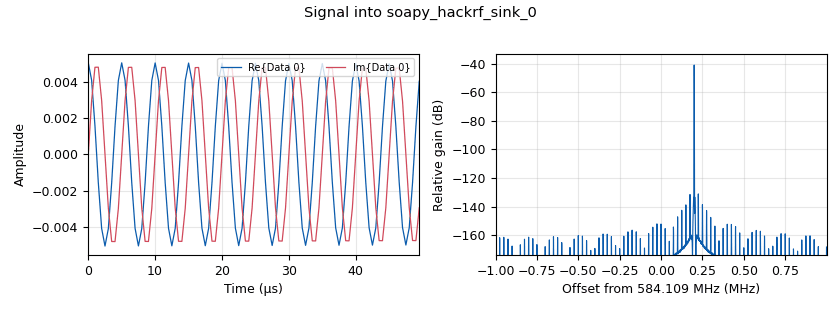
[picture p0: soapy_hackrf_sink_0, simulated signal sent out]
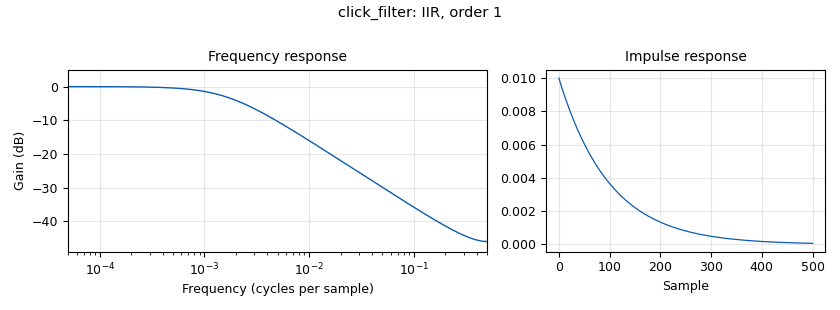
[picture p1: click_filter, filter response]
options:
  parameters:
    category: Custom
    generate_options: no_gui
    id: hackrf_tx
    output_language: python
    run_options: run
  states: {}

blocks:
- name: audio_rate
  id: variable
  parameters:
    value: samp_rate / interpolation
  states: {}
- name: band
  id: variable
  parameters:
    value: '584.209441'
  states: {}
- name: correction
  id: variable
  parameters:
    value: '0'
  states: {}
- name: cw_vector
  id: variable
  parameters:
    value: (1,0,1,0,1,0,1,1,1, 0,0,0, 1,0,1,0,1,0,1,1,1, 0,0,0, 1,0,1,0,1,0,1,1,1, 0,0,0,0,0,0,0, 1,1,1,0,1,0,1, 0,0,0, 1, 0,0,0,0,0,0,0, 1,0,1,0,1,0,1,1,1, 0,0,0, 1, 0,0,0, 1,0,1,0,1,0,1,1,1,0,1,1,1, 0,0,0, 1,0,1, 0,0,0, 1,0,1,1,1,0,1, 0,0,0, 1,0,1,1,1,0,1, 0,0,0,0,0,0,0, 1,1,1, 0,0,0, 1, 0,0,0, 1,0,1,0,1, 0,0,0, 1,1,1, 0,0,0, 1,0,1, 0,0,0, 1,1,1,0,1, 0,0,0, 1,1,1,0,1,1,1,0,1, 0,0,0,0,0,0,0,0,0,0)
  states: {}
- name: if_gain
  id: variable
  parameters:
    value: '20'
  states: {}
- name: interpolation
  id: variable
  parameters:
    value: '80'
  states: {}
- name: offset
  id: variable
  parameters:
    value: '200000'
  states: {}
- name: rf_gain
  id: variable
  parameters:
    value: 'False'
  states: {}
- name: samp_rate
  id: variable
  parameters:
    value: '2000000'
  states: {}
- name: tune
  id: variable
  parameters:
    value: '100'
  states: {}
- name: wpm
  id: variable
  parameters:
    value: '15'
  states: {}
- name: blocks_add_const_vxx_0
  id: blocks_add_const_vxx
  parameters:
    const: '0.000001'
    type: complex
  states: {}
- name: blocks_multiply_const_vxx_0
  id: blocks_multiply_const_vxx
  parameters:
    const: '0.9'
    type: complex
  states: {}
- name: blocks_rotator_cc_0
  id: blocks_rotator_cc
  parameters:
    phase_inc: 2 * math.pi * (tune * 1000 + 100000) / samp_rate
  states: {}
- name: click_filter
  id: single_pole_iir_filter_xx
  parameters:
    alpha: '1e-2'
    type: complex
  states: {}
- name: cw_repeat
  id: blocks_repeat
  parameters:
    interp: int(1.2 * audio_rate / wpm)
    type: complex
  states: {}
- name: cw_vector_source
  id: blocks_vector_source_x
  parameters:
    repeat: 'False'
    type: complex
    vector: cw_vector
  states: {}
- name: import_0
  id: import
  parameters:
    imports: import math
  states: {}
- name: resamp
  id: rational_resampler_xxx
  parameters:
    decim: '1'
    interp: interpolation
    taps: ''
    type: ccc
  states: {}
- name: soapy_hackrf_sink_0
  id: soapy_hackrf_sink
  parameters:
    amp: rf_gain
    center_freq: (band * 1e6 + 100000 - offset) * (1 + correction*1e-6)
    samp_rate: samp_rate
    type: fc32
    vga: if_gain
  states: {}

connections:
- [blocks_add_const_vxx_0, '0', resamp, '0']
- [blocks_multiply_const_vxx_0, '0', cw_repeat, '0']
- [blocks_rotator_cc_0, '0', soapy_hackrf_sink_0, '0']
- [click_filter, '0', blocks_add_const_vxx_0, '0']
- [cw_repeat, '0', click_filter, '0']
- [cw_vector_source, '0', blocks_multiply_const_vxx_0, '0']
- [resamp, '0', blocks_rotator_cc_0, '0']

metadata:
  file_format: 1
  grc_version: 3.10.2.0
